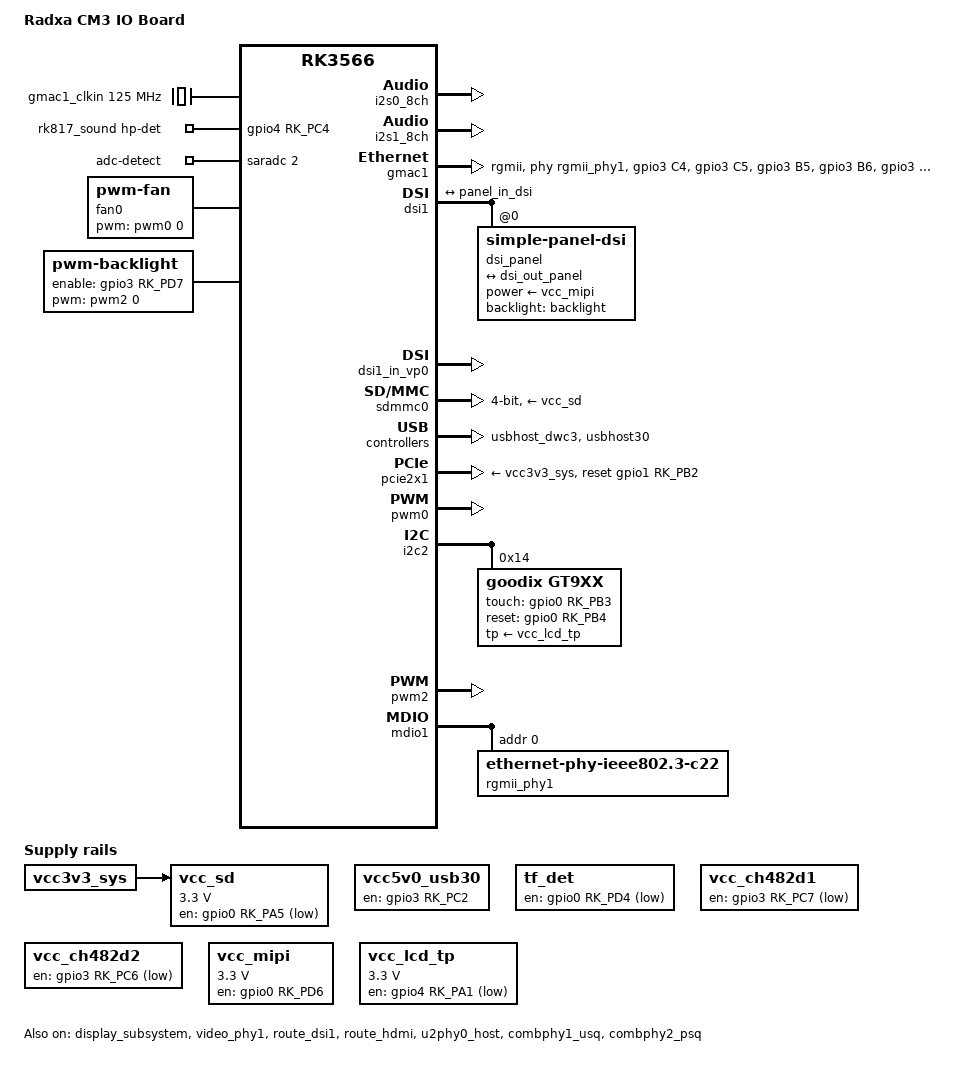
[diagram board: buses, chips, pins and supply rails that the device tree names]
/dts-v1/;

#include "rk3566-radxa-cm3.dtsi"
#include <dt-bindings/gpio/gpio.h>
#include <dt-bindings/pinctrl/rockchip.h>
#include <dt-bindings/interrupt-controller/irq.h>
#include <dt-bindings/display/drm_mipi_dsi.h>
#include <dt-bindings/pwm/pwm.h>

/ {
	model = "Radxa CM3 IO Board";
	compatible = "radxa,cm3-io", "radxa,cm3", "rockchip,rk3566";

	hdmi_sound: hdmi-sound {
		compatible = "simple-audio-card";
		simple-audio-card,format = "i2s";
		simple-audio-card,mclk-fs = <128>;
		simple-audio-card,name = "rockchip-hdmi0";

		simple-audio-card,cpu {
				sound-dai = <&i2s0_8ch>;
		};
		simple-audio-card,codec {
				sound-dai = <&hdmi>;
		};
	};

	gmac1_clkin: external-gmac1-clock {
		compatible = "fixed-clock";
		clock-frequency = <125000000>;
		clock-output-names = "gmac1_clkin";
		#clock-cells = <0>;
	};

	vcc5v0_usb30: vcc5v0-usb30-regulator {
		compatible = "regulator-fixed";
		enable-active-high;
		gpio = <&gpio3 RK_PC2 GPIO_ACTIVE_HIGH>;
		pinctrl-names = "default";
		pinctrl-0 = <&vcc5v0_usb30_en>;
		regulator-name = "vcc5v0_usb30";
		regulator-always-on;
		regulator-boot-on;
	};

	vcc_sd: sdmmc-regulator {
		compatible = "regulator-fixed";
		gpio = <&gpio0 RK_PA5 GPIO_ACTIVE_LOW>;
		pinctrl-names = "default";
		pinctrl-0 = <&sdmmc_pwren>;
		regulator-name = "vcc_sd";
		regulator-min-microvolt = <3300000>;
		regulator-max-microvolt = <3300000>;
		startup-delay-us = <100000>;
		vin-supply = <&vcc3v3_sys>;
	};

	tf_det: tf-det-regulator {
		compatible = "regulator-fixed";
		enable-active-low;
		gpio = <&gpio0 RK_PD4 GPIO_ACTIVE_LOW>;
		pinctrl-names = "default";
		pinctrl-0 = <&tf_det_en>;
		regulator-name = "tf_det";
		regulator-always-on;
		regulator-boot-on;
	};

	rk817_sound: rk817-sound {
		status = "okay";
		compatible = "rockchip,multicodecs-card";
		rockchip,card-name = "rockchip-rk817";
		rockchip,format = "i2s";
		rockchip,mclk-fs = <256>;
		rockchip,cpu = <&i2s1_8ch>;
		rockchip,codec = <&rk817_codec>;
		poll-interval = <100>;
		io-channels = <&saradc 2>;
		io-channel-names = "adc-detect";
		keyup-threshold-microvolt = <1800000>;
		pinctrl-0 = <&hp_det>;
		pinctrl-names = "default";
		hp-det-gpio = <&gpio4 RK_PC4 GPIO_ACTIVE_HIGH>;
		play-pause-key {
			label = "playpause";
			linux,code = <164>;
			press-threshold-microvolt = <2000>;
		};
	};

	fan0: pwm-fan {
		compatible = "pwm-fan";
		#cooling-cells = <2>;
		cooling-levels = <0 64 128 192 255>;
		pwms = <&pwm0 0 10000 0>;
	};

	vcc_ch482d1: vcc-ch482d1 {
		compatible = "regulator-fixed";
		gpio = <&gpio3 RK_PC7 GPIO_ACTIVE_LOW>;
		pinctrl-names = "default";
		pinctrl-0 = <&ch482d_en1>;
		regulator-name = "vcc_ch482d1";
		regulator-always-on;
		regulator-boot-on;
		status = "okay";
	};

	vcc_ch482d2: vcc-ch482d2 {
		compatible = "regulator-fixed";
		gpio = <&gpio3 RK_PC6 GPIO_ACTIVE_LOW>;
		pinctrl-names = "default";
		pinctrl-0 = <&ch482d_en2>;
		regulator-name = "vcc_ch482d2";
		regulator-always-on;
		regulator-boot-on;
		status = "okay";
	};

	vcc_mipi: vcc-mipi {
		status = "okay";
		compatible = "regulator-fixed";
		regulator-name = "vcc_mipi";
		regulator-min-microvolt = <3300000>;
		regulator-max-microvolt = <3300000>;
		pinctrl-names = "default";
		pinctrl-0 = <&vcc_mipi_pin>;
		gpio = <&gpio0 RK_PD6 GPIO_ACTIVE_HIGH>;
		enable-active-high;
		regulator-always-on;
		regulator-state-mem {
			regulator-off-in-suspend;
		};
	};

	vcc_lcd_tp: vcc-lcd-tp {
		status = "okay";
		compatible = "regulator-fixed";
		regulator-name = "vcc_lcd_tp";
		regulator-min-microvolt = <3300000>;
		regulator-max-microvolt = <3300000>;
		pinctrl-names = "default";
		pinctrl-0 = <&vcc_tp_pin>;
		gpio = <&gpio4 RK_PA1 GPIO_ACTIVE_LOW>;
		regulator-always-on;
		regulator-state-mem {
			regulator-off-in-suspend;
		};
	};

	backlight: backlight {
		status = "okay";
		compatible = "pwm-backlight";
		pinctrl-names = "default";
		pinctrl-0 = <&dsi1_backlight_en>;
		pwms = <&pwm2 0 25000 PWM_POLARITY_INVERTED>;
		enable-gpios = <&gpio3 RK_PD7 0>;
		post-pwm-on-delay-ms = <10>;
		pwm-off-delay-ms = <10>;
		brightness-levels = <
				0  20  20  21  21  22  22  23
				23  24  24  25  25  26  26  27
				27  28  28  29  29  30  30  31
				31  32  32  33  33  34  34  35
				35  36  36  37  37  38  38  39
				40  41  42  43  44  45  46  47
				48  49  50  51  52  53  54  55
				56  57  58  59  60  61  62  63
				64  65  66  67  68  69  70  71
				72  73  74  75  76  77  78  79
				80  81  82  83  84  85  86  87
				88  89  90  91  92  93  94  95
				96  97  98  99 100 101 102 103
			104 105 106 107 108 109 110 111
			112 113 114 115 116 117 118 119
			120 121 122 123 124 125 126 127
			128 129 130 131 132 133 134 135
			136 137 138 139 140 141 142 143
			144 145 146 147 148 149 150 151
			152 153 154 155 156 157 158 159
			160 161 162 163 164 165 166 167
			168 169 170 171 172 173 174 175
			176 177 178 179 180 181 182 183
			184 185 186 187 188 189 190 191
			192 193 194 195 196 197 198 199
			200 201 202 203 204 205 206 207
			208 209 210 211 212 213 214 215
			216 217 218 219 220 221 222 223
			224 225 226 227 228 229 230 231
			232 233 234 235 236 237 238 239
			240 241 242 243 244 245 246 247
			248 249 250 251 252 253 254 255
		>;
		default-brightness-level = <200>;
	};

};

&gpio_leds {
	pi-led-green {
		gpios = <&gpio4 4 GPIO_ACTIVE_LOW>;
		linux,default-trigger = "heartbeat";
		default-state = "on";
		pinctrl-0 = <&pi_led>;
	};

	pwr-led-red {
		gpios = <&gpio4 15 GPIO_ACTIVE_LOW>;
		linux,default-trigger = "default-on";
		pinctrl-0 = <&pwr_led>;
	};
};

&i2s0_8ch {
	status = "okay";
};

&i2s1_8ch {
	rockchip,clk-trcm = <1>;
	pinctrl-0 = <&i2s1m0_sclktx
		     &i2s1m0_lrcktx
		     &i2s1m0_sdi0
		     &i2s1m0_sdo0>;
	status = "okay";
};

&display_subsystem {
    status = "okay";
};

&gmac1 {
	assigned-clocks = <&cru SCLK_GMAC1_RX_TX>, <&cru SCLK_GMAC1>;
	assigned-clock-parents = <&cru SCLK_GMAC1_RGMII_SPEED>, <&gmac1_clkin>;
	assigned-clock-rates = <0>, <125000000>;
	clock_in_out = "input";
	phy-handle = <&rgmii_phy1>;
	phy-mode = "rgmii";
	pinctrl-names = "default";
	pinctrl-0 = <&gmac1m0_miim
		     &gmac1m0_tx_bus2
		     &gmac1m0_rx_bus2
		     &gmac1m0_rgmii_clk
		     &gmac1m0_rgmii_bus
		     &gmac1m0_clkinout>;
	snps,reset-gpio = <&gpio4 RK_PC2 GPIO_ACTIVE_LOW>;
	snps,reset-active-low;
	/* Reset time is 20ms, 100ms for rtl8211f */
	snps,reset-delays-us = <0 20000 100000>;
	tx_delay = <0x46>;
	rx_delay = <0x2e>;
	status = "okay";
};

&dsi1 {
	status = "okay";

	#address-cells = <1>;
	#size-cells = <0>;

	dsi_panel: panel@0 {
		status = "okay";
		compatible = "simple-panel-dsi";
		reg = <0>;
		backlight = <&backlight>;
		power-supply = <&vcc_mipi>;
		pinctrl-names = "default";
		pinctrl-0 = <&dsi1_lcd_rst_gpio>;

		width-mm = <107>;
		height-mm = <199>;
		dsi,flags = <(MIPI_DSI_MODE_VIDEO | MIPI_DSI_MODE_VIDEO_BURST | MIPI_DSI_MODE_LPM | MIPI_DSI_MODE_EOT_PACKET)>;
		dsi,format = <MIPI_DSI_FMT_RGB888>;
		dsi,lanes  = <2>;
		panel-init-sequence = [
			15 00 02 E0 00
			15 00 02 E1 93
			15 00 02 E2 65
			15 00 02 E3 F8
			15 00 02 80 03
			15 00 02 E0 01
			15 00 02 00 00
			15 00 02 01 72
			15 00 02 03 00
			15 00 02 04 65
			15 00 02 0C 74
			15 00 02 17 00
			15 00 02 18 B7
			15 00 02 19 00
			15 00 02 1A 00
			15 00 02 1B B7
			15 00 02 1C 00
			15 00 02 24 FE
			15 00 02 37 19
			15 00 02 38 05
			15 00 02 39 00
			15 00 02 3A 01
			15 00 02 3B 01
			15 00 02 3C 70
			15 00 02 3D FF
			15 00 02 3E FF
			15 00 02 3F FF
			15 00 02 40 06
			15 00 02 41 A0
			15 00 02 43 1E
			15 00 02 44 0F
			15 00 02 45 28
			15 00 02 4B 04
			15 00 02 55 02
			15 00 02 56 01
			15 00 02 57 A9
			15 00 02 58 0A
			15 00 02 59 0A
			15 00 02 5A 37
			15 00 02 5B 19
			15 00 02 5D 78
			15 00 02 5E 63
			15 00 02 5F 54
			15 00 02 60 48
			15 00 02 61 45
			15 00 02 62 38
			15 00 02 63 3D
			15 00 02 64 28
			15 00 02 65 43
			15 00 02 66 41
			15 00 02 67 43
			15 00 02 68 62
			15 00 02 69 50
			15 00 02 6A 57
			15 00 02 6B 49
			15 00 02 6C 44
			15 00 02 6D 37
			15 00 02 6E 23
			15 00 02 6F 10
			15 00 02 70 78
			15 00 02 71 63
			15 00 02 72 54
			15 00 02 73 49
			15 00 02 74 45
			15 00 02 75 38
			15 00 02 76 3D
			15 00 02 77 28
			15 00 02 78 43
			15 00 02 79 41
			15 00 02 7A 43
			15 00 02 7B 62
			15 00 02 7C 50
			15 00 02 7D 57
			15 00 02 7E 49
			15 00 02 7F 44
			15 00 02 80 37
			15 00 02 81 23
			15 00 02 82 10
			15 00 02 E0 02
			15 00 02 00 47
			15 00 02 01 47
			15 00 02 02 45
			15 00 02 03 45
			15 00 02 04 4B
			15 00 02 05 4B
			15 00 02 06 49
			15 00 02 07 49
			15 00 02 08 41
			15 00 02 09 1F
			15 00 02 0A 1F
			15 00 02 0B 1F
			15 00 02 0C 1F
			15 00 02 0D 1F
			15 00 02 0E 1F
			15 00 02 0F 5F
			15 00 02 10 5F
			15 00 02 11 57
			15 00 02 12 77
			15 00 02 13 35
			15 00 02 14 1F
			15 00 02 15 1F
			15 00 02 16 46
			15 00 02 17 46
			15 00 02 18 44
			15 00 02 19 44
			15 00 02 1A 4A
			15 00 02 1B 4A
			15 00 02 1C 48
			15 00 02 1D 48
			15 00 02 1E 40
			15 00 02 1F 1F
			15 00 02 20 1F
			15 00 02 21 1F
			15 00 02 22 1F
			15 00 02 23 1F
			15 00 02 24 1F
			15 00 02 25 5F
			15 00 02 26 5F
			15 00 02 27 57
			15 00 02 28 77
			15 00 02 29 35
			15 00 02 2A 1F
			15 00 02 2B 1F
			15 00 02 58 40
			15 00 02 59 00
			15 00 02 5A 00
			15 00 02 5B 10
			15 00 02 5C 06
			15 00 02 5D 40
			15 00 02 5E 01
			15 00 02 5F 02
			15 00 02 60 30
			15 00 02 61 01
			15 00 02 62 02
			15 00 02 63 03
			15 00 02 64 6B
			15 00 02 65 05
			15 00 02 66 0C
			15 00 02 67 73
			15 00 02 68 09
			15 00 02 69 03
			15 00 02 6A 56
			15 00 02 6B 08
			15 00 02 6C 00
			15 00 02 6D 04
			15 00 02 6E 04
			15 00 02 6F 88
			15 00 02 70 00
			15 00 02 71 00
			15 00 02 72 06
			15 00 02 73 7B
			15 00 02 74 00
			15 00 02 75 F8
			15 00 02 76 00
			15 00 02 77 D5
			15 00 02 78 2E
			15 00 02 79 12
			15 00 02 7A 03
			15 00 02 7B 00
			15 00 02 7C 00
			15 00 02 7D 03
			15 00 02 7E 7B
			15 00 02 E0 04
			15 00 02 00 0E
			15 00 02 02 B3
			15 00 02 09 60
			15 00 02 0E 2A
			15 00 02 36 59
			15 00 02 E0 00
			15 00 02 80 01
			15 00 02 E0 00
			15 00 02 11 00
			15 78 02 29 00
		];

		panel-exit-sequence = [
			05 00 01 28
			05 00 01 10
		];

		disp_timings0: display-timings {
			native-mode = <&dsi0_timing0>;
			dsi0_timing0: timing0 {
				clock-frequency = <70000000>;
				hactive = <800>;
				vactive = <1280>;
				hsync-len = <20>;
				hback-porch = <20>;
				hfront-porch = <40>;
				vsync-len = <4>;
				vback-porch = <28>;
				vfront-porch = <30>;
				hsync-active = <0>;
				vsync-active = <0>;
				de-active = <0>;
				pixelclk-active = <0>;
			};
		};

		ports {
			#address-cells = <1>;
			#size-cells = <0>;
			port@0 {
				reg = <0>;
				panel_in_dsi: endpoint {
					remote-endpoint = <&dsi_out_panel>;
				};
			};
		};
	};

	ports {
		#address-cells = <1>;
		#size-cells = <0>;

		port@1 {
			reg = <1>;
			dsi_out_panel: endpoint {
				remote-endpoint = <&panel_in_dsi>;
			};
		};
	};
};

&dsi1_in_vp0 {
	status = "okay";
};

&video_phy1 {
	status = "okay";
};

&hdmi_in_vp0 {
	status = "disabled";
};

&hdmi {
	status = "disabled";
};

&hdmi_in_vp1 {
	status = "disabled";
};

&route_dsi1 {
	status = "okay";
	connect = <&vp0_out_dsi1>;
};

&hdmi_sound {
	status = "okay";
};

&route_hdmi {
	status = "okay";
	connect = <&vp0_out_hdmi>;
};

&sdmmc0 {
	max-frequency = <150000000>;
	supports-sd;
	bus-width = <4>;
	cap-mmc-highspeed;
	cap-sd-highspeed;
	disable-wp;
	sd-uhs-sdr104;
	vmmc-supply = <&vcc_sd>;
	vqmmc-supply = <&vccio_sd>;
	pinctrl-names = "default";
	pinctrl-0 = <&sdmmc0_bus4 &sdmmc0_clk &sdmmc0_cmd &sdmmc0_det>;
	status = "okay";
};

&u2phy0_host {
	phy-supply = <&vcc5v0_usb30>;
	status = "okay";
};

&usbhost_dwc3 {
	status = "okay";
};

&usbhost30 {
	status = "okay";
};

&combphy1_usq {
	status = "okay";
};

&combphy2_psq {
	status = "okay";
};

&pcie2x1 {
	status = "okay";
	reset-gpios = <&gpio1 RK_PB2 GPIO_ACTIVE_HIGH>;
	vpcie3v3-supply = <&vcc3v3_sys>;
	pinctrl-0 = <&pcie20m2_pins>;
};

&pwm0 {
	pinctrl-0 = <&pwm0m1_pins>;
	status = "okay";
};

// &i2c2 {
// 	status = "okay";
// 	hym8563: hym8563@51 {
// 		compatible = "haoyu,hym8563";
// 		status = "okay";
// 		reg = <0x51>;
// 		#clock-cells = <0>;
// 		clock-frequency = <32768>;
// 		clock-output-names = "hym8563";
// 	};
// };

&i2c2 {
	status = "okay";
	pinctrl-0 = <&i2c2m1_xfer>;
	#address-cells = <1>;
	#size-cells = <0>;

	gt9xx: gt9xx@14 {
		status = "okay";
		compatible = "goodix,gt9xx";
		reg = <0x14>;
		pinctrl-names = "default";
		pinctrl-0 = <&gt9xx_gpio>;
		touch-gpio = <&gpio0 RK_PB3 IRQ_TYPE_LEVEL_HIGH>;
		reset-gpio = <&gpio0 RK_PB4 GPIO_ACTIVE_HIGH>;
		max-x = <800>;
		max-y = <1280>;
		tp-size = <9112>;
		tp-supply = <&vcc_lcd_tp>;
	};
};

&pwm2 {
	status = "okay";
};

&rk817 {
	rtc {
		status = "disabled";
	};
};

&soc_thermal {
	sustainable-power = <5000>; /* milliwatts */
	cooling-maps {
		map2 {
			trip = <&target>;
			cooling-device =
				<&fan0 THERMAL_NO_LIMIT THERMAL_NO_LIMIT>;
			contribution = <8192>;
		};
		map3 {
			trip = <&threshold>;
			cooling-device =
				<&fan0 THERMAL_NO_LIMIT THERMAL_NO_LIMIT>;
			contribution = <8192>;
		};
	};
};

&threshold {
	temperature = <60000>;
};

&mdio1 {
	rgmii_phy1: ethernet-phy@0 {
		compatible="ethernet-phy-ieee802.3-c22";
		reg= <0x0>;
	};
};

&pinctrl {
	gt9xx {
		gt9xx_gpio: gt9xx-gpio {
			rockchip,pins =
				<0 RK_PB3 RK_FUNC_GPIO &pcfg_pull_none>,
				<0 RK_PB4 RK_FUNC_GPIO &pcfg_pull_up>;
		};
	};

	lcd-vcc {
		vcc_mipi_pin: vcc-mipi-pin {
			rockchip,pins = <0 RK_PD6 RK_FUNC_GPIO &pcfg_pull_up>;
		};

		vcc_tp_pin: vcc-tp-pin {
			rockchip,pins = <4 RK_PA1 RK_FUNC_GPIO &pcfg_pull_down>;
		};
	};

	dsi1-lcd {
		dsi1_lcd_rst_gpio: dsi1-lcd-rst-gpio {
			rockchip,pins = <4 RK_PA0 RK_FUNC_GPIO &pcfg_pull_up>;
		};

		dsi1_backlight_en: dsi1-backlight-en {
			rockchip,pins = <3 RK_PD7 RK_FUNC_GPIO &pcfg_pull_up>;
		};
	};

	gmac1 {
		gmac1m0_miim: gmac1m0-miim {
			rockchip,pins =
				/* gmac1_mdcm0 */
				<3 RK_PC4 3 &pcfg_pull_none_drv_level_15>,
				/* gmac1_mdiom0 */
				<3 RK_PC5 3 &pcfg_pull_none_drv_level_15>;
		};

		gmac1m0_rx_bus2: gmac1m0-rx-bus2 {
			rockchip,pins =
				/* gmac1_rxd0m0 */
				<3 RK_PB1 3 &pcfg_pull_none_drv_level_15>,
				/* gmac1_rxd1m0 */
				<3 RK_PB2 3 &pcfg_pull_none_drv_level_15>,
				/* gmac1_rxdvcrsm0 */
				<3 RK_PB3 3 &pcfg_pull_none_drv_level_15>;
		};

		gmac1m0_tx_bus2: gmac1m0-tx-bus2 {
			rockchip,pins =
				/* gmac1_txd0m0 */
				<3 RK_PB5 3 &pcfg_pull_none_drv_level_15>,
				/* gmac1_txd1m0 */
				<3 RK_PB6 3 &pcfg_pull_none_drv_level_15>,
				/* gmac1_txenm0 */
				<3 RK_PB7 3 &pcfg_pull_none_drv_level_15>;
		};

		gmac1m0_rgmii_clk: gmac1m0-rgmii-clk {
			rockchip,pins =
				/* gmac1_rxclkm0 */
				<3 RK_PA7 3 &pcfg_pull_none_drv_level_15>,
				/* gmac1_txclkm0 */
				<3 RK_PA6 3 &pcfg_pull_none_drv_level_15>;
		};

		gmac1m0_rgmii_bus: gmac1m0-rgmii-bus {
			rockchip,pins =
				/* gmac1_rxd2m0 */
				<3 RK_PA4 3 &pcfg_pull_none_drv_level_15>,
				/* gmac1_rxd3m0 */
				<3 RK_PA5 3 &pcfg_pull_none_drv_level_15>,
				/* gmac1_txd2m0 */
				<3 RK_PA2 3 &pcfg_pull_none_drv_level_15>,
				/* gmac1_txd3m0 */
				<3 RK_PA3 3 &pcfg_pull_none_drv_level_15>;
		};

		gmac1m0_clkinout: gmac1m0-clkinout {
			rockchip,pins =
				/* gmac1_mclkinoutm0 */
				<3 RK_PC0 3 &pcfg_pull_none_drv_level_15>;
		};
	};

	headphone {
		hp_det: hp-det {
			rockchip,pins = <4 RK_PC4 RK_FUNC_GPIO &pcfg_pull_up>;
		};
	};

	usb {
		vcc5v0_usb30_en: vcc5v0-host-en {
			rockchip,pins = <3 RK_PC2 RK_FUNC_GPIO &pcfg_pull_none>;
		};
	};

	leds {
		pi_led: pi-led{
			rockchip,pins = <4 RK_PA4 RK_FUNC_GPIO &pcfg_pull_none>;
		};

		pwr_led: pwr-led{
			rockchip,pins = <4 RK_PB7 RK_FUNC_GPIO &pcfg_pull_none>;
		};
	};

	sdcard {
		sdmmc_pwren: sdmmc-pwren {
			rockchip,pins = <0 RK_PA5 RK_FUNC_GPIO &pcfg_pull_none>;
		};

		tf_det_en: tf-det-en {
			rockchip,pins = <0 RK_PD4 RK_FUNC_GPIO &pcfg_output_low>;
		};
	};

	ch482d {
		ch482d_en1: ch482d-en1 {
			rockchip,pins = <3 RK_PC7 RK_FUNC_GPIO &pcfg_pull_none>;
		};

		ch482d_en2: ch482d-en2 {
			rockchip,pins = <3 RK_PC6 RK_FUNC_GPIO &pcfg_pull_none>;
		};
	};

};

&gpio0 {
	gpio-line-names =
		/* GPIO0_A0-A3 */
		"", "", "", "",
		/* GPIO0_A4-A7 */
		"", "", "", "",

		/* GPIO0_B0-B3 */
		"", "", "", "",
		/* GPIO0_B4-B7 */
		"", "PIN_5", "PIN_3", "PIN_13",

		/* GPIO0_C0-C3 */
		"", "", "PIN_37", "PIN_15",
		/* GPIO0_C4-C7 */
		"", "PIN_31", "PIN_33", "PIN_11",

		/* GPIO0_D0-D3 */
		"PIN_10", "PIN_8", "", "",
		/* GPIO0_D4-D7 */
		"", "", "", "";
};

&gpio1 {
	gpio-line-names =
		/* GPIO1_A0-A3 */
		"", "", "", "",
		/* GPIO1_A4-A7 */
		"", "", "", "",

		/* GPIO1_B0-B3 */
		"", "", "", "",
		/* GPIO1_B4-B7 */
		"", "", "", "",

		/* GPIO1_C0-C3 */
		"", "", "", "",
		/* GPIO1_C4-C7 */
		"", "", "", "",

		/* GPIO1_D0-D3 */
		"", "", "", "",
		/* GPIO1_D4-D7 */
		"", "", "", "";
};

&gpio2 {
	gpio-line-names =
		/* GPIO2_A0-A3 */
		"", "", "", "",
		/* GPIO2_A4-A7 */
		"", "", "", "",

		/* GPIO2_B0-B3 */
		"", "", "", "",
		/* GPIO2_B4-B7 */
		"", "", "", "",

		/* GPIO2_C0-C3 */
		"", "", "", "",
		/* GPIO2_C4-C7 */
		"", "", "", "",

		/* GPIO2_D0-D3 */
		"", "", "", "",
		/* GPIO2_D4-D7 */
		"", "", "", "";
};

&gpio3 {
	gpio-line-names =
		/* GPIO3_A0-A3 */
		"", "", "", "",
		/* GPIO3_A4-A7 */
		"", "", "", "",

		/* GPIO3_B0-B3 */
		"", "", "", "",
		/* GPIO3_B4-B7 */
		"", "", "", "",

		/* GPIO3_C0-C3 */
		"", "", "", "",
		/* GPIO3_C4-C7 */
		"", "", "PIN_22", "PIN_12",

		/* GPIO3_D0-D3 */
		"PIN_35", "PIN_40", "PIN_38", "PIN_18",
		/* GPIO3_D4-D7 */
		"PIN_16", "PIN_7", "", "";
};

&gpio4 {
	gpio-line-names =
		/* GPIO4_A0-A3 */
		"", "", "", "",
		/* GPIO4_A4-A7 */
		"", "", "PIN_24", "PIN_36",

		/* GPIO4_B0-B3 */
		"PIN_21", "PIN_29", "PIN_19", "PIN_23",
		/* GPIO4_B4-B7 */
		"PIN_27", "PIN_28", "", "",

		/* GPIO4_C0-C3 */
		"PIN_32", "", "", "",
		/* GPIO4_C4-C7 */
		"", "", "", "",

		/* GPIO4_D0-D3 */
		"", "", "", "",
		/* GPIO4_D4-D7 */
		"", "", "", "";
};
